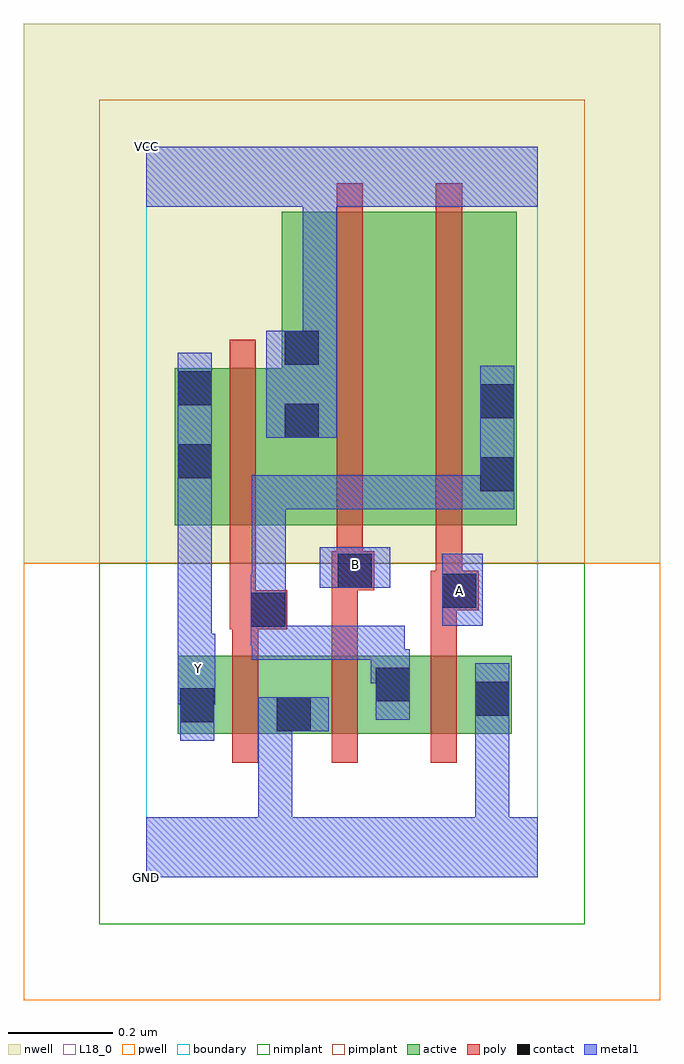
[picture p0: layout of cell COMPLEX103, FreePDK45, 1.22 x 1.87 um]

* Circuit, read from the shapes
.subckt COMPLEX103 A B GND VCC Y
M1 GND n1 Y VSUBS nfet w=0.15u l=0.05u
M2 n1 B GND VSUBS nfet w=0.15u l=0.05u
M3 GND A n1 VSUBS nfet w=0.15u l=0.05u
M4 VCC n1 Y n2 pfet w=0.3u l=0.05u
M5 n3 B VCC n2 pfet w=0.6u l=0.05u
M6 n1 A n3 n2 pfet w=0.6u l=0.05u
.ends

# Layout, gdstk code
import gdstk
lib = gdstk.Library(unit=1e-6, precision=1e-09)
def R(c, l, rs):  # rectangles x0, y0, x1, y1
    for r in rs: c.add(gdstk.rectangle(r[:2], r[2:], *l))
def A(c, l, x, y, w, h, nx, ny, dx, dy):  # array of equal rectangles
    R(c, l, [(x+i*dx, y+j*dy, x+i*dx+w, y+j*dy+h) for i in range(nx) for j in range(ny)])
active = (1, 0)
pwell = (2, 0)
nwell = (3, 0)
nimplant = (4, 0)
pimplant = (5, 0)
poly = (9, 0)
contact = (10, 0)
metal1 = (11, 0)
L18_0 = (18, 0)
boundary = (235, 0)

complex103 = lib.new_cell('COMPLEX103')
R(complex103, active, [(0.06,0.275,0.135,0.425), (0.06,0.275,0.32,0.425), (0.245,0.275,0.51,0.425), (0.245,0.275,0.32,0.397), (0.435,0.275,0.51,0.425), (0.435,0.275,0.7,0.425), (0.625,0.275,0.7,0.425), (0.055,0.675,0.335,0.975), (0.055,0.675,0.13,0.975), (0.26,0.675,0.485,1.275), (0.26,0.675,0.335,1.052), (0.485,0.675,0.71,1.275), (0.635,0.675,0.71,1.2)])
R(complex103, pwell, [(-0.235,-0.235,0.985,0.602)])
R(complex103, nwell, [(-0.235,0.602,0.985,1.635)])
R(complex103, nimplant, [(-0.09,-0.09,0.84,0.602)])
R(complex103, pimplant, [(-0.09,0.602,0.84,1.49)])
A(complex103, poly, 0.165, 0.22, 0.05, 0.26, 3, 1, 0.19, 0)
R(complex103, poly, [(0.165,0.43,0.215,0.525), (0.355,0.43,0.405,0.6), (0.545,0.43,0.595,0.562), (0.16,0.475,0.27,0.55), (0.16,0.5,0.21,0.67), (0.545,0.512,0.637,0.587), (0.555,0.537,0.605,0.67), (0.355,0.55,0.437,0.625), (0.365,0.575,0.415,0.67), (0.16,0.62,0.21,1.03), (0.365,0.62,0.415,1.33), (0.555,0.62,0.605,1.33)])
R(complex103, contact, [(0.25,0.28,0.315,0.345), (0.065,0.297,0.13,0.362), (0.63,0.31,0.695,0.375), (0.44,0.337,0.505,0.402), (0.2,0.48,0.265,0.545), (0.567,0.517,0.632,0.582), (0.367,0.555,0.432,0.62), (0.64,0.74,0.705,0.805), (0.06,0.765,0.125,0.83), (0.265,0.842,0.33,0.907), (0.64,0.88,0.705,0.945), (0.06,0.905,0.125,0.97), (0.265,0.982,0.33,1.047)])
R(complex103, metal1, [(0,0,0.75,0.115), (0.215,0.05,0.28,0.345), (0.63,0.05,0.695,0.115), (0.63,0.05,0.695,0.115), (0.63,0.05,0.695,0.115), (0.63,0.05,0.695,0.115), (0.63,0.05,0.695,0.34), (0.065,0.262,0.13,0.397), (0.63,0.275,0.695,0.41), (0.215,0.28,0.28,0.345), (0.215,0.28,0.28,0.345), (0.215,0.28,0.28,0.345), (0.215,0.28,0.28,0.345), (0.215,0.28,0.35,0.345), (0.44,0.302,0.505,0.437), (0.06,0.332,0.132,0.467), (0.065,0.332,0.13,0.397), (0.43,0.372,0.505,0.437), (0.43,0.372,0.495,0.482), (0.06,0.402,0.125,0.795), (0.202,0.417,0.267,0.482), (0.202,0.417,0.495,0.482), (0.202,0.417,0.267,0.535), (0.2,0.445,0.265,0.58), (0.2,0.47,0.265,0.535), (0.2,0.47,0.267,0.535), (0.202,0.47,0.267,0.77), (0.567,0.482,0.645,0.62), (0.332,0.555,0.467,0.632), (0.202,0.705,0.267,0.77), (0.202,0.705,0.495,0.77), (0.43,0.705,0.495,0.77), (0.43,0.705,0.495,0.77), (0.43,0.705,0.495,0.77), (0.43,0.705,0.705,0.77), (0.64,0.705,0.705,0.77), (0.64,0.705,0.705,0.77), (0.64,0.705,0.705,0.98), (0.06,0.73,0.125,1.005), (0.23,0.842,0.365,1.047), (0.3,0.982,0.365,1.35), (0,1.285,0.75,1.4)])
R(complex103, L18_0, [(0,0,0.75,0.115), (0.215,0.05,0.28,0.345), (0.63,0.05,0.695,0.115), (0.63,0.05,0.695,0.115), (0.63,0.05,0.695,0.115), (0.63,0.05,0.695,0.115), (0.63,0.05,0.695,0.34), (0.065,0.262,0.13,0.397), (0.63,0.275,0.695,0.41), (0.215,0.28,0.28,0.345), (0.215,0.28,0.28,0.345), (0.215,0.28,0.28,0.345), (0.215,0.28,0.28,0.345), (0.215,0.28,0.35,0.345), (0.06,0.332,0.132,0.467), (0.065,0.332,0.13,0.397), (0.067,0.367,0.132,0.432), (0.06,0.402,0.125,0.795), (0.567,0.482,0.645,0.62), (0.567,0.517,0.632,0.582), (0.332,0.555,0.467,0.632), (0.367,0.567,0.432,0.632), (0.06,0.73,0.125,1.005), (0.23,0.842,0.365,1.047), (0.3,0.982,0.365,1.35), (0,1.285,0.75,1.4)])
R(complex103, boundary, [(0,0,0.75,1.4)])
complex103.add(gdstk.Label('A', (0.6,0.55), layer=11, texttype=0))
complex103.add(gdstk.Label('B', (0.4,0.6), layer=11, texttype=0))
complex103.add(gdstk.Label('Y', (0.1,0.4), layer=11, texttype=0))
complex103.add(gdstk.Label('VCC', (0,1.4), layer=11, texttype=0))
complex103.add(gdstk.Label('GND', (0,0), layer=11, texttype=0))

lib.write_gds('COMPLEX103.gds')
